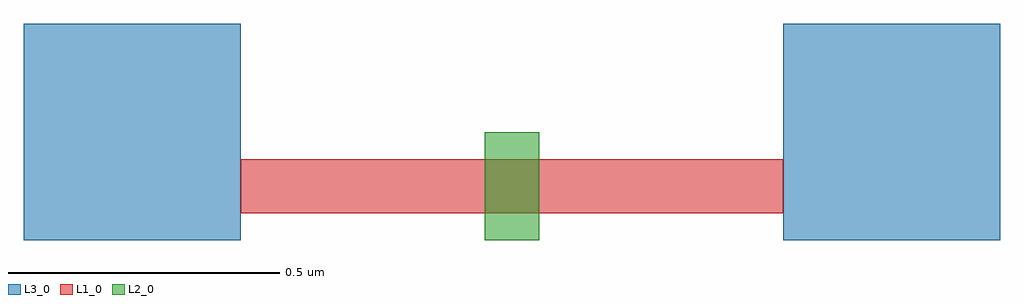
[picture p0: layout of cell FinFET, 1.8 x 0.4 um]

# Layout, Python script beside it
import gdspy

# Creating a library
lib = gdspy.GdsLibrary()

# Creating a cell (a module within the GDSII file to hold specific layout patterns)
cell = lib.new_cell('FinFET')

# Specifications
fin_width = 0.1
fin_height = 0.2
fin_length = 1.0
gate_length = 0.1
source_drain_length = 0.4
source_drain_extension = 0.2

# Layers
fin_layer = 1
gate_layer = 2
source_drain_layer = 3

# Fin (created as a rectangle)
fin = gdspy.Rectangle(
    (-fin_length/2, -fin_width/2), 
    (fin_length/2, fin_width/2), 
    layer=fin_layer)

# Gate (created as a rectangle and positioned around the fin)
gate = gdspy.Rectangle(
    (-gate_length/2, -fin_height/2), 
    (gate_length/2, fin_height/2), 
    layer=gate_layer)

# Source and Drain (created as rectangles and positioned beyond the gate length and fin)
source = gdspy.Rectangle(
    (-fin_length/2 - source_drain_length, -fin_height/2), 
    (-fin_length/2, fin_height/2), 
    layer=source_drain_layer)

drain = gdspy.Rectangle(
    (fin_length/2, -fin_height/2), 
    (fin_length/2 + source_drain_length, fin_height/2), 
    layer=source_drain_layer)

# Source/Drain Extensions beyond the fin
source_extension = gdspy.Rectangle(
    (-fin_length/2 - source_drain_length, fin_height/2), 
    (-fin_length/2, fin_height/2 + source_drain_extension), 
    layer=source_drain_layer)

drain_extension = gdspy.Rectangle(
    (fin_length/2, fin_height/2), 
    (fin_length/2 + source_drain_length, fin_height/2 + source_drain_extension), 
    layer=source_drain_layer)

# Adding all elements to the cell
cell.add(fin)
cell.add(gate)
cell.add(source)
cell.add(drain)
cell.add(source_extension)
cell.add(drain_extension)

# Exporting the GDS file
lib.write_gds('finfet.gds')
